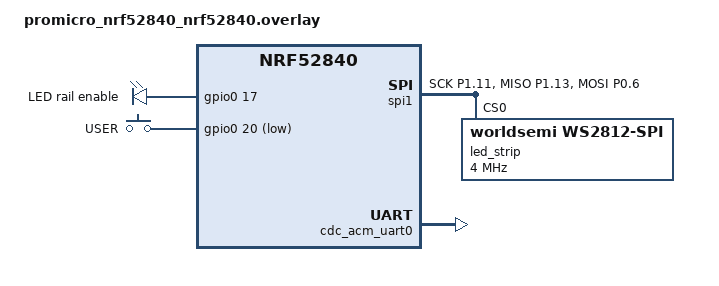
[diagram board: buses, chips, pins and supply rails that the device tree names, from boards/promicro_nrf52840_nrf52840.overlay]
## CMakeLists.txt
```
cmake_minimum_required(VERSION 3.20.0)
find_package(Zephyr REQUIRED HINTS $ENV{ZEPHYR_BASE})
project(settings_medic)

target_sources(app PRIVATE src/main.c)
```

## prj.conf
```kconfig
# settings-medic: erase the app settings partition (0xec000..0xf4000) and
# hand straight back to the UF2 bootloader. Flashed IN PLACE OF MCUboot
# via the UF2 drive when a brown-out-corrupted NVS crashes every app boot
# before USB comes up; follow with the release combined UF2 to restore.
CONFIG_FLASH=y

# SuperMini clones often omit the 32.768 kHz crystal
CONFIG_CLOCK_CONTROL_NRF_K32SRC_RC=y
CONFIG_CLOCK_CONTROL_NRF_K32SRC_500PPM=y

CONFIG_REBOOT=y
CONFIG_SERIAL=n
CONFIG_CONSOLE=n
CONFIG_UART_CONSOLE=n
```

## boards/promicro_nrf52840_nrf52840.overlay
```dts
#include <zephyr/dt-bindings/led/led.h>

/* 16x WS2812B ring, data on P0.06 — same pin as the carrier board
 * (LED_DATA_MCU). Driven via SPIM: MOSI generates the 800 kHz waveform;
 * SCK/MISO are required by the peripheral so they're parked on unused
 * pins (P1.11 / P1.13 are not broken out on the SuperMini).
 */

&pinctrl {
	spi1_led_default: spi1_led_default {
		group1 {
			psels = <NRF_PSEL(SPIM_SCK, 1, 11)>,
				<NRF_PSEL(SPIM_MISO, 1, 13)>,
				<NRF_PSEL(SPIM_MOSI, 0, 6)>;
		};
	};
	spi1_led_sleep: spi1_led_sleep {
		group1 {
			psels = <NRF_PSEL(SPIM_SCK, 1, 11)>,
				<NRF_PSEL(SPIM_MISO, 1, 13)>,
				<NRF_PSEL(SPIM_MOSI, 0, 6)>;
			low-power-enable;
		};
	};
};

&spi1 {
	compatible = "nordic,nrf-spim";
	status = "okay";
	pinctrl-0 = <&spi1_led_default>;
	pinctrl-1 = <&spi1_led_sleep>;
	pinctrl-names = "default", "sleep";

	led_strip: ws2812@0 {
		compatible = "worldsemi,ws2812-spi";
		reg = <0>;
		spi-max-frequency = <4000000>;
		chain-length = <16>;
		color-mapping = <LED_COLOR_ID_GREEN
				 LED_COLOR_ID_RED
				 LED_COLOR_ID_BLUE>;
		spi-one-frame = <0x70>;
		spi-zero-frame = <0x40>;
	};
};

&usbd {
	cdc_acm_uart0: cdc_acm_uart0 {
		compatible = "zephyr,cdc-acm-uart";
	};
};

/ {
	chosen {
		zephyr,console = &cdc_acm_uart0;
	};

	aliases {
		led-strip = &led_strip;
		led-power = &led_power;
	};

	led_power_ctrl {
		compatible = "gpio-leds";
		led_power: led_power {
			gpios = <&gpio0 17 GPIO_ACTIVE_HIGH>;
			label = "LED rail enable";
		};
	};

	buttons {
		compatible = "gpio-keys";
		user_button: button_0 {
			gpios = <&gpio0 20 (GPIO_PULL_UP | GPIO_ACTIVE_LOW)>;
			label = "USER";
		};
	};
};
```

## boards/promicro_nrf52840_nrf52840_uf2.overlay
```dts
#include <zephyr/dt-bindings/led/led.h>

/* 16x WS2812B ring, data on P0.06 — same pin as the carrier board
 * (LED_DATA_MCU). Driven via SPIM: MOSI generates the 800 kHz waveform;
 * SCK/MISO are required by the peripheral so they're parked on unused
 * pins (P1.11 / P1.13 are not broken out on the SuperMini).
 */

&pinctrl {
	spi1_led_default: spi1_led_default {
		group1 {
			psels = <NRF_PSEL(SPIM_SCK, 1, 11)>,
				<NRF_PSEL(SPIM_MISO, 1, 13)>,
				<NRF_PSEL(SPIM_MOSI, 0, 6)>;
		};
	};
	spi1_led_sleep: spi1_led_sleep {
		group1 {
			psels = <NRF_PSEL(SPIM_SCK, 1, 11)>,
				<NRF_PSEL(SPIM_MISO, 1, 13)>,
				<NRF_PSEL(SPIM_MOSI, 0, 6)>;
			low-power-enable;
		};
	};
};

&spi1 {
	compatible = "nordic,nrf-spim";
	status = "okay";
	pinctrl-0 = <&spi1_led_default>;
	pinctrl-1 = <&spi1_led_sleep>;
	pinctrl-names = "default", "sleep";

	led_strip: ws2812@0 {
		compatible = "worldsemi,ws2812-spi";
		reg = <0>;
		spi-max-frequency = <4000000>;
		chain-length = <16>;
		color-mapping = <LED_COLOR_ID_GREEN
				 LED_COLOR_ID_RED
				 LED_COLOR_ID_BLUE>;
		spi-one-frame = <0x70>;
		spi-zero-frame = <0x40>;
	};
};

/* USB CDC console: the board dts already provides board_cdc_acm_uart and
 * points zephyr,console at it — do NOT add a second CDC instance here.
 */

/ {
	aliases {
		led-strip = &led_strip;
		led-power = &led_power;
	};

	led_power_ctrl {
		compatible = "gpio-leds";
		led_power: led_power {
			gpios = <&gpio0 17 GPIO_ACTIVE_HIGH>;
			label = "LED rail enable";
		};
	};

	buttons {
		compatible = "gpio-keys";
		user_button: button_0 {
			gpios = <&gpio0 20 (GPIO_PULL_UP | GPIO_ACTIVE_LOW)>;
			label = "USER";
		};
	};
};
```

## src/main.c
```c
/* Erase the settings partition, then return to the UF2 bootloader.
 * Success signal: the NICENANO drive reappears within seconds. */
#include <zephyr/device.h>
#include <zephyr/drivers/flash.h>
#include <zephyr/kernel.h>
#include <zephyr/sys/reboot.h>

#include <nrfx.h>

#define STORAGE_OFFSET 0xec000
#define STORAGE_LENGTH 0x8000

int main(void)
{
	const struct device *flash =
		DEVICE_DT_GET(DT_CHOSEN(zephyr_flash_controller));

	if (device_is_ready(flash)) {
		(void)flash_erase(flash, STORAGE_OFFSET, STORAGE_LENGTH);
	}
	k_sleep(K_MSEC(500));
	NRF_POWER->GPREGRET = 0x57; /* DFU_MAGIC_UF2_RESET */
	sys_reboot(SYS_REBOOT_COLD);
	return 0;
}
```
